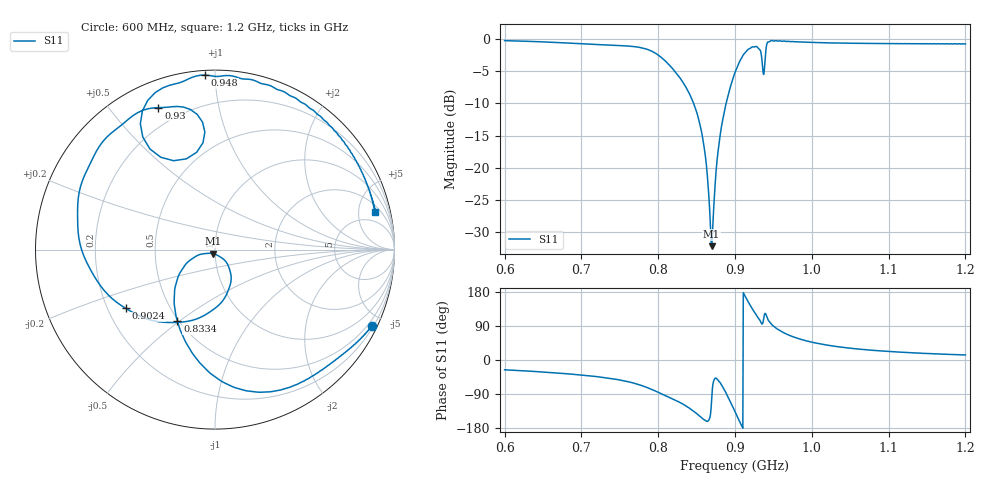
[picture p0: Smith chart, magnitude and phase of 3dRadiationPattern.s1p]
! TOUCHSTONE file generated by CST MICROWAVE STUDIO
! Date and time: Thu Oct  2 09:40:35 2025
! Project name: YagiUda4mm.cst
! Parameters = {F=10.012; L=345.622; L1=146.685; L2=144.579; L3=143.302; L4=141.51; La=152.422; LaL1=30.221; LaL2=103.281; LaL3=164.31; LaL4=235.925; Lr=168.575; LrLa=51.3653; R=1.5; Z0=50}
! Header version: 2024
! Port assignment regex: !\s*Touchstone port\s*([0-9]+)\s*=\s*(CST MWS port|CST DES external port|CST DES block port)\s*(.+)\s* \(\"(.*)\"\)(\s*mode\s*([0-9]+))?.*
! Touchstone port assignment:
! Touchstone port 1 = CST MWS port 1 ("")
# MHz S MA R 50
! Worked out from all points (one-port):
!   1001 points, 600 MHz to 1.2 GHz, reference 50 ohm
!   lowest |S11| = -32.2 dB at 869.4 MHz (marker M1), VSWR 1.05, Z = 49.1 - j2.26 ohm
!   |S11| at or under -10 dB: 846.1 MHz to 888.4 MHz (42.3 MHz wide, 4.88 % of centre)
!   S11 on the Smith chart (normalised r, x): 600 MHz: 0.28, -4.34; 833.4 MHz: 0.49, -0.49; 902.4 MHz: 0.27, -0.28; 930 MHz: 0.12, +0.67; 948 MHz: 0.02, +0.94; 1.2 GHz: 2.85, +7.43
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600  0.9719 -25.8
675  0.9351 -35.3
750  0.8886 -52.7
792  0.8022 -78.0
825  0.5297 -108.7
833.4  0.4496 -117.8
856.2  0.1934 -151.8
861.6  0.1207 -159.9
869.4  0.02453 -110.2
871.8  0.04301 -58.6
878.4  0.1409 -54.2
885.6  0.2628 -76.5
900  0.5491 -136.3
902.4  0.5957 -146.7
909  0.7205 -174.8
915  0.806 161.5
923.4  0.8694 132.1
930  0.8514 111.7
934.2  0.7595 97.5
937.8  0.5463 115.0
941.4  0.9116 114.3
948  0.9741 93.3
958.8  0.9678 77.1
975  0.9559 61.8
1005.6  0.9389 44.7
1050  0.9284 31.2
1125  0.9194 19.7
1200  0.9149 13.4
